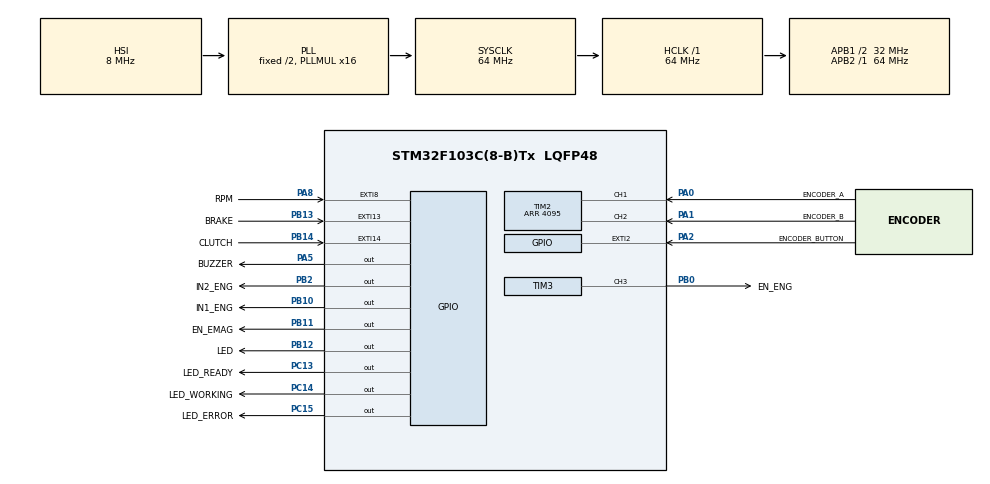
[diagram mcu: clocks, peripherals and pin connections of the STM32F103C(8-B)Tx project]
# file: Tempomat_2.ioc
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ADC1.Channel-0\#ChannelRegularConversion=ADC_CHANNEL_TEMPSENSOR
ADC1.ContinuousConvMode=ENABLE
ADC1.NbrOfConversionFlag=1
ADC1.Rank-0\#ChannelRegularConversion=1
ADC1.SamplingTime-0\#ChannelRegularConversion=ADC_SAMPLETIME_239CYCLES_5
ADC1.master=1
Dma.ADC1.0.Direction=DMA_PERIPH_TO_MEMORY
Dma.ADC1.0.Instance=DMA1_Channel1
Dma.ADC1.0.MemDataAlignment=DMA_MDATAALIGN_HALFWORD
Dma.ADC1.0.MemInc=DMA_MINC_ENABLE
Dma.ADC1.0.Mode=DMA_CIRCULAR
Dma.ADC1.0.PeriphDataAlignment=DMA_PDATAALIGN_HALFWORD
Dma.ADC1.0.PeriphInc=DMA_PINC_DISABLE
Dma.ADC1.0.Priority=DMA_PRIORITY_LOW
Dma.Request0=ADC1
Mcu.Family=STM32F1
Mcu.Name=STM32F103C(8-B)Tx
Mcu.Package=LQFP48
NVIC.DMA1_Channel1_IRQn=true\:15\:0\:true\:false\:true\:false\:true
NVIC.EXTI15_10_IRQn=true\:0\:0\:false\:false\:true\:true\:true
NVIC.EXTI2_IRQn=true\:2\:0\:true\:false\:true\:true\:true
NVIC.EXTI9_5_IRQn=true\:1\:0\:true\:false\:true\:true\:true
NVIC.PriorityGroup=NVIC_PRIORITYGROUP_4
NVIC.TIM1_UP_IRQn=true\:3\:0\:true\:false\:true\:true\:true
NVIC.TIM4_IRQn=true\:8\:0\:true\:false\:true\:true\:true
PA0-WKUP.GPIO_Label=ENCODER_A
PA0-WKUP.GPIO_PuPd=GPIO_PULLUP
PA0-WKUP.Signal=S_TIM2_CH1_ETR
PA1.GPIO_Label=ENCODER_B
PA1.GPIO_PuPd=GPIO_PULLUP
PA1.Signal=S_TIM2_CH2
PA13.Mode=Serial_Wire
PA13.Signal=SYS_JTMS-SWDIO
PA14.Mode=Serial_Wire
PA14.Signal=SYS_JTCK-SWCLK
PA2.GPIO_Label=ENCODER_BUTTON
PA2.GPIO_ModeDefaultEXTI=GPIO_MODE_IT_FALLING
PA2.GPIO_PuPd=GPIO_PULLUP
PA2.Signal=GPXTI2
PA5.GPIO_Label=BUZZER
PA5.Signal=GPIO_Output
PA8.GPIO_Label=RPM
PA8.GPIO_PuPd=GPIO_PULLDOWN
PA8.Signal=GPXTI8
PB0.GPIO_Label=EN_ENG
PB0.Signal=S_TIM3_CH3
PB10.GPIO_Label=IN1_ENG
PB10.GPIO_PuPd=GPIO_PULLDOWN
PB10.Signal=GPIO_Output
PB11.GPIO_Label=EN_EMAG
PB11.GPIO_PuPd=GPIO_PULLDOWN
PB11.Signal=GPIO_Output
PB12.GPIO_Label=LED
PB12.Signal=GPIO_Output
PB13.GPIO_Label=BRAKE
PB13.GPIO_PuPd=GPIO_PULLDOWN
PB13.Signal=GPXTI13
PB14.GPIO_Label=CLUTCH
PB14.GPIO_PuPd=GPIO_PULLDOWN
PB14.Signal=GPXTI14
PB2.GPIO_Label=IN2_ENG
PB2.GPIO_PuPd=GPIO_PULLDOWN
PB2.Signal=GPIO_Output
PC13-TAMPER-RTC.GPIO_Label=LED_READY
PC13-TAMPER-RTC.Signal=GPIO_Output
PC14-OSC32_IN.GPIO_Label=LED_WORKING
PC14-OSC32_IN.Signal=GPIO_Output
PC15-OSC32_OUT.GPIO_Label=LED_ERROR
PC15-OSC32_OUT.Signal=GPIO_Output
ProjectManager.HeapSize=0x200
ProjectManager.StackSize=0x400
ProjectManager.TargetToolchain=STM32CubeIDE
RCC.ADCPresc=RCC_ADCPCLK2_DIV8
RCC.AHBFreq_Value=64000000
RCC.APB1CLKDivider=RCC_HCLK_DIV2
RCC.APB1Freq_Value=32000000
RCC.APB1TimFreq_Value=64000000
RCC.APB2Freq_Value=64000000
RCC.APB2TimFreq_Value=64000000
RCC.HCLKFreq_Value=64000000
RCC.PLLMUL=RCC_PLL_MUL16
RCC.SYSCLKFreq_VALUE=64000000
RCC.SYSCLKSource=RCC_SYSCLKSOURCE_PLLCLK
RCC.USBFreq_Value=64000000
SH.S_TIM2_CH1_ETR.0=TIM2_CH1,Encoder_Interface
SH.S_TIM2_CH2.0=TIM2_CH2,Encoder_Interface
SH.S_TIM3_CH3.0=TIM3_CH3,PWM Generation3 CH3
TIM1.Period=9
TIM1.Prescaler=639
TIM2.EncoderMode=TIM_ENCODERMODE_TI12
TIM2.IC1Filter=15
TIM2.IC2Filter=15
TIM2.Period=4095
TIM3.Channel-PWM\ Generation3\ CH3=TIM_CHANNEL_3
TIM3.Period=199
TIM3.Prescaler=15
TIM4.Period=9999
TIM4.Prescaler=1599
VP_ADC1_TempSens_Input.Mode=IN-TempSens
VP_TIM1_VS_ClockSourceINT.Mode=Internal
VP_TIM4_VS_ClockSourceINT.Mode=Internal
board=custom

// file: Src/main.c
/* USER CODE BEGIN Header */
/**
  ******************************************************************************
  * @file           : main.c
  * @brief          : Main program body
  ******************************************************************************
  * @attention
  *
  * <h2><center>&copy; Copyright (c) 2020 STMicroelectronics.
  * All rights reserved.</center></h2>
  *
  * This software component is licensed by ST under BSD 3-Clause license,
  * the "License"; You may not use this file except in compliance with the
  * License. You may obtain a copy of the License at:
  *                        opensource.org/licenses/BSD-3-Clause
  *
  ******************************************************************************
  */
/* USER CODE END Header */

#include "main.h"
#include "adc.h"
#include "dma.h"
#include "tim.h"
#include "gpio.h"

/* USER CODE BEGIN Includes */

#include <stdlib.h>

/* USER CODE END Includes */

/* USER CODE BEGIN PTD */

typedef enum {
	NO_ERROR =						(0u),

	CPU_TOO_HOT =					(1u),
	EXT_INTERRUPT_NOT_RECOGNIZED =	(2u)
}ERROR_CODE;

typedef enum {
	NOTHING = 						(0),
	DECREASE = 						(-1),
	INCREASE = 						(1)
}DIRECTION;

typedef enum{
	NO_SOUND =						(0u),

	OVERHEAT =						(1u),
	BUTTON_CLICK =					(2u)
}BUZZER_SOUNDS;

/* USER CODE END PTD */

/* USER CODE BEGIN PD */

#define DEBUG_THINGS						(TRUE)		//TRUE / FALSE

#define K_REGULATOR_GAIN					(2)
#define MAX_ALLOWED_RPM_DIFFERENCE			(10)
#define RPM_COEFF							(1)
#define NUMBER_OF_COUNTINGS_IN_ONE_SECOND	(4)		//timer 4
#define ENCODER_RPM_SETTING_STEP			(10)
#define BUTTON_CLICK_BUZZER_LENGTH			(300)
#define OVERHEAT_BUZZER_LENGTH				(3000)

#define DO_DELAY_BETWEEN_ITERATIONS
#ifdef DO_DELAY_BETWEEN_ITERATIONS
	#define NUMBER_OF_DELAYS				(4u)
#endif

#define DELAY_TIME_AFTER_OVERHEAT_IN_MS		(2000)		//2s

#define ADC1_NUMBER_OF_READINGS				(uint32_t)(1u)

#define MAX_ALLOWED_CPU_TEMP				(int16_t)(90)

#define TEMP_SENSOR_COEFF1					((int32_t)(58558))
#define TEMP_SENSOR_COEFF2					((int32_t)(176))

#define MAX_ALLOWED_RPM						(3500u)
#define MIN_ALLOWED_RPM						(1200u)
#define SHUTDOWN_RPM						(3700u)
#define RPM_STEP							(50u)

#define PWM_TIMER							(TIM3)
#define PWM_RESOLUTION						(PWM_TIMER->ARR)
#define PWM_PULSE							(PWM_TIMER->CCR3)

#define DECREASE_ENG_TERMINAL_PORT			(IN2_ENG_GPIO_Port)
#define DECREASE_ENG_TERMINAL_PIN			(IN2_ENG_Pin)
#define INCREASE_ENG_TERMINAL_PORT			(IN1_ENG_GPIO_Port)
#define INCREASE_ENG_TERMINAL_PIN			(IN1_ENG_Pin)

#define BUILT_IN_LED_PORT					(LED_GPIO_Port)
#define BUILT_IN_LED_PIN					(LED_Pin)

#define TRUE								(1u)
#define FALSE								(0u)
#define ON									(1u)
#define OFF									(0u)

/* USER CODE END PD */

/* USER CODE BEGIN PV */

uint32_t ADC1_results[ADC1_NUMBER_OF_READINGS] = {0};
static volatile int16_t Temperature = 0;
static volatile ERROR_CODE ErrorCode = NO_ERROR;
static volatile BUZZER_SOUNDS BuzzerSounds = NO_SOUND;
static volatile uint32_t RPM_counter = 0;
static volatile uint32_t my_TIM1_programm_timer = 0;	// +1 every 100us
static uint32_t Set_RPM = 2000;

static volatile uint8_t STATE = OFF;

/* USER CODE END PV */

void SystemClock_Config(void);
/* USER CODE BEGIN PFP */

void HAL_TIM_PeriodElapsedCallback(TIM_HandleTypeDef *htim);
void HAL_GPIO_EXTI_Callback(uint16_t GPIO_Pin);
void HAL_SYSTICK_Callback(void);

void CPU_Temp_Handling(void);
void Error_Handling(void);
void Encoder_Button_Function(void);
void Set_Direction(DIRECTION direction);

void Set_Electromagnes_On(void);
void Set_Electromagnes_Off(void);
void Complete_Shutdown(void);

void Update_Encoder_Settings(void);
void Make_Soud(void);

/* USER CODE END PFP */

int main(void)
{

  /* MCU Configuration--------------------------------------------------------*/

  /* Reset of all peripherals, Initializes the Flash interface and the Systick. */
  HAL_Init();

  /* Configure the system clock */
  SystemClock_Config();

  /* Initialize all configured peripherals */
  MX_GPIO_Init();
  MX_DMA_Init();
  MX_ADC1_Init();
  MX_TIM1_Init();
  MX_TIM2_Init();
  MX_TIM3_Init();
  MX_TIM4_Init();
  /* USER CODE BEGIN 2 */

  HAL_GPIO_WritePin(LED_READY_GPIO_Port, LED_READY_Pin, SET);
  HAL_GPIO_WritePin(LED_WORKING_GPIO_Port, LED_WORKING_Pin, SET);
  HAL_GPIO_WritePin(LED_ERROR_GPIO_Port, LED_ERROR_Pin, SET);

  while(HAL_OK != HAL_ADCEx_Calibration_Start(&hadc1));

  HAL_ADC_Start_DMA(&hadc1, ADC1_results, ADC1_NUMBER_OF_READINGS);
  HAL_TIM_Base_Start_IT(&htim4);
  HAL_TIM_Base_Start_IT(&htim1);
  HAL_TIM_PWM_Start(&htim3, TIM_CHANNEL_3);
  HAL_TIM_Base_Start(&htim2);

  /* USER CODE END 2 */

  /* Infinite loop */
  /* USER CODE BEGIN WHILE */

  HAL_Delay(1000);

  HAL_GPIO_WritePin(LED_READY_GPIO_Port, LED_READY_Pin, SET);
  HAL_GPIO_WritePin(LED_WORKING_GPIO_Port, LED_WORKING_Pin, RESET);
  HAL_GPIO_WritePin(LED_ERROR_GPIO_Port, LED_ERROR_Pin, RESET);

  while (1)
  {
    /* USER CODE END WHILE */

    /* USER CODE BEGIN 3 */

	  if(NO_ERROR != ErrorCode)
	  {
		  Error_Handling();
	  }
	  else
	  {
		  Update_Encoder_Settings();
		  CPU_Temp_Handling();
	  }

	  if(OFF == STATE)
	  {
		  HAL_GPIO_WritePin(LED_WORKING_GPIO_Port, LED_WORKING_Pin, RESET);
	  }
	  else
	  {
		  HAL_GPIO_WritePin(LED_WORKING_GPIO_Port, LED_WORKING_Pin, SET);
	  }
  }
  /* USER CODE END 3 */
}

void SystemClock_Config(void)
{
  RCC_OscInitTypeDef RCC_OscInitStruct = {0};
  RCC_ClkInitTypeDef RCC_ClkInitStruct = {0};
  RCC_PeriphCLKInitTypeDef PeriphClkInit = {0};

  /** Initializes the CPU, AHB and APB busses clocks
  */
  RCC_OscInitStruct.OscillatorType = RCC_OSCILLATORTYPE_HSI;
  RCC_OscInitStruct.HSIState = RCC_HSI_ON;
  RCC_OscInitStruct.HSICalibrationValue = RCC_HSICALIBRATION_DEFAULT;
  RCC_OscInitStruct.PLL.PLLState = RCC_PLL_ON;
  RCC_OscInitStruct.PLL.PLLSource = RCC_PLLSOURCE_HSI_DIV2;
  RCC_OscInitStruct.PLL.PLLMUL = RCC_PLL_MUL16;
  if (HAL_RCC_OscConfig(&RCC_OscInitStruct) != HAL_OK)
  {
    Error_Handler();
  }
  /** Initializes the CPU, AHB and APB busses clocks
  */
  RCC_ClkInitStruct.ClockType = RCC_CLOCKTYPE_HCLK|RCC_CLOCKTYPE_SYSCLK
                              |RCC_CLOCKTYPE_PCLK1|RCC_CLOCKTYPE_PCLK2;
  RCC_ClkInitStruct.SYSCLKSource = RCC_SYSCLKSOURCE_PLLCLK;
  RCC_ClkInitStruct.AHBCLKDivider = RCC_SYSCLK_DIV1;
  RCC_ClkInitStruct.APB1CLKDivider = RCC_HCLK_DIV2;
  RCC_ClkInitStruct.APB2CLKDivider = RCC_HCLK_DIV1;

  if (HAL_RCC_ClockConfig(&RCC_ClkInitStruct, FLASH_LATENCY_2) != HAL_OK)
  {
    Error_Handler();
  }
  PeriphClkInit.PeriphClockSelection = RCC_PERIPHCLK_ADC;
  PeriphClkInit.AdcClockSelection = RCC_ADCPCLK2_DIV8;
  if (HAL_RCCEx_PeriphCLKConfig(&PeriphClkInit) != HAL_OK)
  {
    Error_Handler();
  }
}

/* USER CODE BEGIN 4 */

/*********** HERE BEGIN INTERRUPTS FUNCTIONS ***********/

void HAL_TIM_PeriodElapsedCallback(TIM_HandleTypeDef *htim)
{
	static int32_t RPM_difference_previous = 0;
	static int32_t RPM_difference_this = 0;
	int32_t difference_in_difference = 0;
	int32_t tmp_variable = 0;
	uint32_t adjusted_RPM = 0;

#ifdef DO_DELAY_BETWEEN_ITERATIONS
	static uint16_t iteration = 0;
#endif

	if(&htim1 == htim)
	{
		++my_TIM1_programm_timer;
		  Make_Soud();
	}

	if(&htim4 == htim)
	{
		adjusted_RPM = RPM_counter * RPM_COEFF * NUMBER_OF_COUNTINGS_IN_ONE_SECOND;
		RPM_difference_this = Set_RPM - (adjusted_RPM);

		if (OFF == STATE)
		{
			Set_RPM = adjusted_RPM;
		}

		RPM_counter = 0;
		PWM_PULSE = 0;

		difference_in_difference = RPM_difference_this - RPM_difference_previous;
		difference_in_difference *= K_REGULATOR_GAIN;

#if DEBUG_THINGS == TRUE
		HAL_GPIO_TogglePin(BUILT_IN_LED_PORT, BUILT_IN_LED_PIN);
#endif

		if(OFF == STATE)
		{
			Set_Electromagnes_Off();
		}

		tmp_variable = abs(difference_in_difference);

		if((ON == STATE) && (MAX_ALLOWED_RPM_DIFFERENCE <= tmp_variable))
		{
#ifdef DO_DELAY_BETWEEN_ITERATIONS
			++iteration;
#endif

			HAL_GPIO_WritePin(LED_WORKING_GPIO_Port, LED_WORKING_Pin, SET);
			Set_Electromagnes_On();

			if(difference_in_difference < 0)
			{
				Set_Direction(DECREASE);
				if(difference_in_difference < ((-1) * PWM_RESOLUTION))
				{
					PWM_PULSE = PWM_RESOLUTION;
				}
				else
				{
					PWM_PULSE = ((-1) * difference_in_difference);
				}
			}
			else
			{
				if(difference_in_difference > 0)
				{
					Set_Direction(INCREASE);
					if(difference_in_difference > PWM_RESOLUTION)
					{
						PWM_PULSE = PWM_RESOLUTION;
					}
					else
					{
						PWM_PULSE = difference_in_difference;
					}
				}
				else
				{
					PWM_PULSE = 0;
				}
			}

#ifdef DO_DELAY_BETWEEN_ITERATIONS
			if (iteration < NUMBER_OF_DELAYS)
			{
				PWM_PULSE = 0;
			}
			else
			{
				if (NUMBER_OF_DELAYS == iteration)
				{
					iteration = 0;
				}
			}
#endif
		}//if((ON == STATE) && (MAX_ALLOWED_RPM_DIFFERENCE <= tmp_variable))
		else	//OFF == STATE
		{
			PWM_PULSE = 0;
		}
	}
}

void HAL_GPIO_EXTI_Callback(uint16_t GPIO_Pin)
{
	if(RPM_Pin == GPIO_Pin)
	{
		++RPM_counter;
	}
	else
	{
		if((BRAKE_Pin == GPIO_Pin) || (CLUTCH_Pin == GPIO_Pin))
		{
			STATE = OFF;
			Set_Electromagnes_Off();
			Set_Direction(NOTHING);
		}
		else
		{
			if(ENCODER_BUTTON_Pin == GPIO_Pin)
			{
				Encoder_Button_Function();
			}
			else
			{
				ErrorCode = EXT_INTERRUPT_NOT_RECOGNIZED;
			}
		}
	}
}

//void HAL_SYSTICK_Callback(void)
//{
//	++RPM_counter;
//}

/*********** HERE END INTERRUPTS FUNCTIONS AND MY FUNCTIONS BEGIN ***********/

void CPU_Temp_Handling(void)
{
	Temperature = (int16_t)(((TEMP_SENSOR_COEFF1 - 33 * (int32_t)ADC1_results[0]))/TEMP_SENSOR_COEFF2) + 25;

	if(MAX_ALLOWED_CPU_TEMP <= Temperature)
	{
		ErrorCode = CPU_TOO_HOT;
	}
}

void Error_Handling(void)
{
	HAL_GPIO_WritePin(LED_ERROR_GPIO_Port, LED_ERROR_Pin, SET);

	switch (ErrorCode)
	{
		case CPU_TOO_HOT:
		{
			Complete_Shutdown();
			BuzzerSounds = OVERHEAT;
			HAL_Delay(DELAY_TIME_AFTER_OVERHEAT_IN_MS);
			BuzzerSounds = NO_SOUND;
			ErrorCode = 0;
			break;
		}
		case EXT_INTERRUPT_NOT_RECOGNIZED:
		{
			ErrorCode = 0;
			break;
		}
		default:
		{
			NVIC_SystemReset();
			break;
		}
	}
}

void Encoder_Button_Function(void)
{
	if(NO_SOUND == BuzzerSounds)
	{
		BuzzerSounds = BUTTON_CLICK;
	}

	if(ON == STATE)
	{
		STATE = OFF;
		Set_Electromagnes_Off();
	}
	else
	{
		STATE = ON;
		Set_Electromagnes_On();
	}
}

void Set_Direction(DIRECTION direction)
{
	switch (direction)
	{
		case DECREASE:
		{
			HAL_GPIO_WritePin(INCREASE_ENG_TERMINAL_PORT, INCREASE_ENG_TERMINAL_PIN, RESET);
			HAL_GPIO_WritePin(DECREASE_ENG_TERMINAL_PORT, DECREASE_ENG_TERMINAL_PIN, SET);
			break;
		}
		case INCREASE:
		{
			HAL_GPIO_WritePin(INCREASE_ENG_TERMINAL_PORT, INCREASE_ENG_TERMINAL_PIN, SET);
			HAL_GPIO_WritePin(DECREASE_ENG_TERMINAL_PORT, DECREASE_ENG_TERMINAL_PIN, RESET);
			break;
		}
		case NOTHING:
		{
			HAL_GPIO_WritePin(INCREASE_ENG_TERMINAL_PORT, INCREASE_ENG_TERMINAL_PIN, RESET);
			HAL_GPIO_WritePin(DECREASE_ENG_TERMINAL_PORT, DECREASE_ENG_TERMINAL_PIN, RESET);
			break;
		}
		default:
		{
			HAL_GPIO_WritePin(INCREASE_ENG_TERMINAL_PORT, INCREASE_ENG_TERMINAL_PIN, RESET);
			HAL_GPIO_WritePin(DECREASE_ENG_TERMINAL_PORT, DECREASE_ENG_TERMINAL_PIN, RESET);
			break;
		}
	}
}

void Set_Electromagnes_On(void)
{
	HAL_GPIO_WritePin(EN_EMAG_GPIO_Port, EN_EMAG_Pin, SET);
}

void Set_Electromagnes_Off(void)
{
	HAL_GPIO_WritePin(EN_EMAG_GPIO_Port, EN_EMAG_Pin, RESET);
}

void Complete_Shutdown(void)
{
	STATE = OFF;
	Set_Electromagnes_Off();
	Set_Direction(NOTHING);
}

void Update_Encoder_Settings(void)
{
	static uint32_t lastEncValue = 0;
	uint32_t encCounterValue = (TIM2->CNT);
	int32_t encDiff = encCounterValue - lastEncValue;
	uint32_t TEMP_Set_RPM = Set_RPM;

	if ((encDiff >= 4u) || (encDiff <= -4))
	{
		encDiff /= 4u;
		TEMP_Set_RPM += (uint32_t)(((int8_t)(encDiff)) * ENCODER_RPM_SETTING_STEP);

		if (TEMP_Set_RPM > MAX_ALLOWED_RPM)
		{
			Set_RPM = MAX_ALLOWED_RPM;
		}
		else
		{
			if (TEMP_Set_RPM < MIN_ALLOWED_RPM)
			{
				Set_RPM = MIN_ALLOWED_RPM;
			}
			else
			{
				Set_RPM = TEMP_Set_RPM;
			}
		}//else

		lastEncValue = encCounterValue;
	}//if

}//void Update_Encoder_Settings(void)

void Make_Soud(void)
{
	static uint32_t iterator = 0;

	switch(BuzzerSounds)
	{
		case NO_SOUND:
		{
			HAL_GPIO_WritePin(BUZZER_GPIO_Port, BUZZER_Pin, RESET);
			break;
		}
		case OVERHEAT:
		{
			++iterator;
			if (iterator > OVERHEAT_BUZZER_LENGTH)
			{
				HAL_GPIO_TogglePin(BUZZER_GPIO_Port, BUZZER_Pin);
				iterator = 0;
			}
			break;
		}
		case BUTTON_CLICK:
		{
			HAL_GPIO_WritePin(BUZZER_GPIO_Port, BUZZER_Pin, SET);
			++iterator;
			if (iterator > BUTTON_CLICK_BUZZER_LENGTH)
			{
				BuzzerSounds = NO_SOUND;
				iterator = 0;
			}
			break;
		}
		default:
		{
			HAL_GPIO_WritePin(BUZZER_GPIO_Port, BUZZER_Pin, RESET);
			break;
		}
	}
}

/* USER CODE END 4 */

void Error_Handler(void)
{
}

/************************ (C) COPYRIGHT STMicroelectronics *****END OF FILE****/
